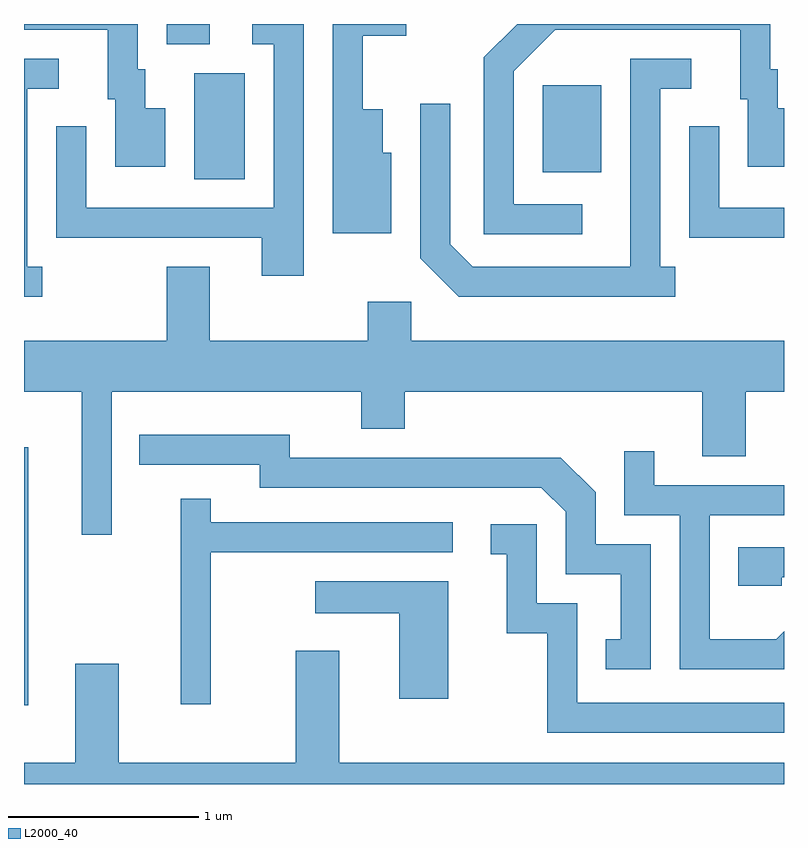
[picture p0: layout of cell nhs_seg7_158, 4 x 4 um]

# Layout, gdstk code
import gdstk
lib = gdstk.Library(unit=1e-6, precision=1e-09)
def R(c, l, rs):  # rectangles x0, y0, x1, y1
    for r in rs: c.add(gdstk.rectangle(r[:2], r[2:], *l))
def P(c, l, *ps):  # polygons
    for p in ps: c.add(gdstk.Polygon(p, *l))
L2000_40 = (2000, 40)

nhs_seg7_158 = lib.new_cell('nhs_seg7_158')
R(nhs_seg7_158, L2000_40, [(189.611,1712.666,189.634,1714.024), (190.506,1715.436,190.774,1715.994), (192.341,1715.471,192.649,1715.929), (190.361,1716.146,190.589,1716.252)])
P(nhs_seg7_158, L2000_40, [(191.544,1715.574),(191.499,1715.574),(191.499,1715.804),(191.394,1715.804),(191.394,1716.191),(191.623,1716.191),(191.623,1716.252),(191.236,1716.252),(191.236,1715.151),(191.544,1715.151)],
  [(192.548,1715.304),(192.189,1715.304),(192.189,1716.004),(192.407,1716.221),(193.381,1716.221),(193.381,1715.856),(193.421,1715.856),(193.421,1715.501),(193.611,1715.501),(193.611,1715.809),(193.579,1715.809),(193.579,1716.014),(193.539,1716.014),(193.539,1716.252),(192.207,1716.252),(192.031,1716.077),(192.031,1715.146),(192.548,1715.146)],
  [(190.354,1715.809),(190.249,1715.809),(190.249,1716.014),(190.209,1716.014),(190.209,1716.252),(189.611,1716.252),(189.611,1716.221),(190.051,1716.221),(190.051,1715.856),(190.091,1715.856),(190.091,1715.501),(190.354,1715.501)],
  [(191.084,1716.252),(190.813,1716.252),(190.813,1716.146),(190.926,1716.146),(190.926,1715.284),(189.939,1715.284),(189.939,1715.713),(189.781,1715.713),(189.781,1715.126),(190.861,1715.126),(190.861,1714.926),(191.084,1714.926)],
  [(189.708,1714.974),(189.629,1714.974),(189.629,1715.911),(189.793,1715.911),(189.793,1716.069),(189.611,1716.069),(189.611,1714.816),(189.708,1714.816)],
  [(193.038,1714.974),(192.959,1714.974),(192.959,1715.911),(193.123,1715.911),(193.123,1716.069),(192.801,1716.069),(192.801,1714.974),(191.972,1714.974),(191.854,1715.092),(191.854,1715.833),(191.696,1715.833),(191.696,1715.019),(191.899,1714.816),(193.038,1714.816)],
  [(193.611,1715.284),(193.269,1715.284),(193.269,1715.713),(193.111,1715.713),(193.111,1715.126),(193.611,1715.126)],
  [(190.074,1714.316),(191.386,1714.316),(191.386,1714.121),(191.614,1714.121),(191.614,1714.316),(193.181,1714.316),(193.181,1713.976),(193.409,1713.976),(193.409,1714.316),(193.611,1714.316),(193.611,1714.584),(191.649,1714.584),(191.649,1714.789),(191.421,1714.789),(191.421,1714.584),(190.589,1714.584),(190.589,1714.974),(190.361,1714.974),(190.361,1714.584),(189.611,1714.584),(189.611,1714.316),(189.916,1714.316),(189.916,1713.563),(190.074,1713.563)],
  [(192.909,1713.514),(192.619,1713.514),(192.619,1713.787),(192.437,1713.969),(191.009,1713.969),(191.009,1714.089),(190.218,1714.089),(190.218,1713.931),(190.851,1713.931),(190.851,1713.811),(192.334,1713.811),(192.461,1713.684),(192.461,1713.356),(192.751,1713.356),(192.751,1713.014),(192.673,1713.014),(192.673,1712.856),(192.909,1712.856)],
  [(193.611,1713.056),(193.569,1713.014),(193.219,1713.014),(193.219,1713.666),(193.611,1713.666),(193.611,1713.824),(192.929,1713.824),(192.929,1714.003),(192.771,1714.003),(192.771,1713.666),(193.061,1713.666),(193.061,1712.856),(193.611,1712.856)],
  [(190.594,1713.471),(191.868,1713.471),(191.868,1713.629),(190.594,1713.629),(190.594,1713.753),(190.436,1713.753),(190.436,1712.673),(190.594,1712.673)],
  [(193.611,1712.679),(192.524,1712.679),(192.524,1713.204),(192.309,1713.204),(192.309,1713.619),(192.068,1713.619),(192.068,1713.461),(192.151,1713.461),(192.151,1713.046),(192.366,1713.046),(192.366,1712.521),(193.611,1712.521)],
  [(193.599,1713.341),(193.611,1713.341),(193.611,1713.499),(193.371,1713.499),(193.371,1713.296),(193.599,1713.296)],
  [(191.844,1713.319),(191.143,1713.319),(191.143,1713.151),(191.586,1713.151),(191.586,1712.701),(191.844,1712.701)],
  [(193.611,1712.364),(191.269,1712.364),(191.269,1712.954),(191.041,1712.954),(191.041,1712.364),(190.109,1712.364),(190.109,1712.884),(189.881,1712.884),(189.881,1712.364),(189.611,1712.364),(189.611,1712.252),(193.611,1712.252)])

lib.write_gds('nhs_seg7_158.gds')
